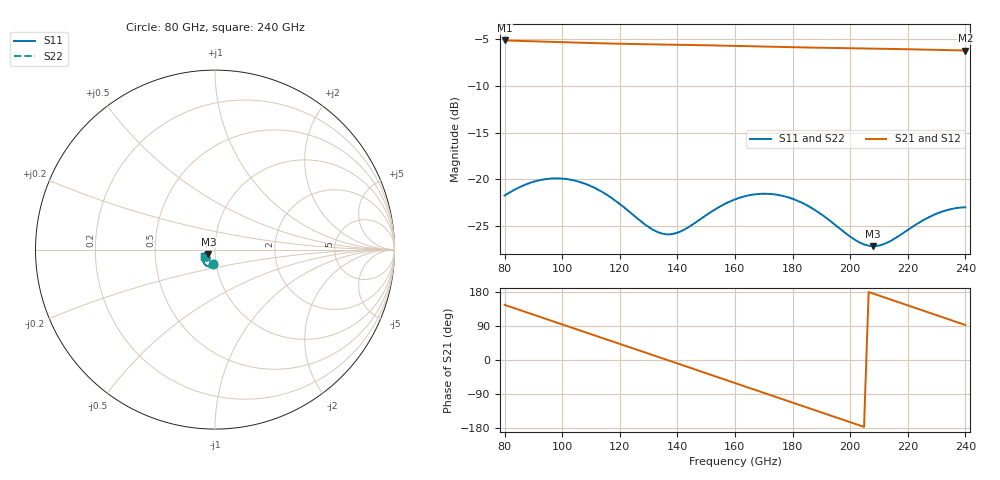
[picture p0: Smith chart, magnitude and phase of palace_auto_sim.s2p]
#  GHZ S DB R 50
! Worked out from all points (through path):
!   101 points, 80 GHz to 240 GHz, reference 50 ohm
!   highest |S21| = -5.12 dB at 80 GHz (marker M1); lowest = -6.2 dB at 240 GHz (marker M2)
!   group delay of S21, straight-line fit = 7.17 ps
!   lowest |S11| = -27.1 dB at 208 GHz (marker M3), VSWR 1.09, Z = 46.4 - j2.2 ohm
!   |S11| at or under -10 dB: start of sweep to end of sweep
!   |S22| runs from -27.2 to -19.9 dB; largest |S21 - S12| = 6.4e-14
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80  -21.73 -95.9  -5.12 145.5  -5.12 145.5  -21.73 -96.6
88  -20.46 -102.9  -5.19 124.8  -5.19 124.8  -20.48 -103.4
94.4  -19.96 -111.6  -5.25 108.3  -5.25 108.3  -19.98 -112.1
100.8  -19.93 -121.3  -5.31 91.8  -5.31 91.8  -19.96 -121.7
107.2  -20.38 -130.7  -5.37 75.3  -5.37 75.3  -20.41 -131.1
113.6  -21.29 -138.9  -5.42 58.9  -5.42 58.9  -21.33 -139.2
121.6  -23.02 -145.1  -5.48 38.3  -5.48 38.3  -23.08 -145.3
128  -24.64 -144.1  -5.52 21.9  -5.52 21.9  -24.72 -144.1
134.4  -25.78 -136.3  -5.56 5.4  -5.56 5.4  -25.86 -136.0
139.2  -25.78 -128.4  -5.58 -7.0  -5.58 -7.0  -25.85 -127.9
147.2  -24.42 -120.9  -5.62 -27.7  -5.62 -27.7  -24.44 -120.2
160  -22.14 -127.4  -5.70 -60.8  -5.70 -60.8  -22.13 -126.9
166.4  -21.62 -135.0  -5.75 -77.4  -5.75 -77.4  -21.61 -134.5
172.8  -21.57 -143.3  -5.79 -93.9  -5.79 -93.9  -21.57 -142.8
179.2  -21.99 -151.3  -5.84 -110.5  -5.84 -110.5  -22.00 -150.9
187.2  -23.17 -159.4  -5.89 -131.1  -5.89 -131.1  -23.21 -158.8
198.4  -25.75 -160.8  -5.95 -160.0  -5.95 -160.0  -25.85 -159.8
208  -27.14 -147.4  -6.00 175.2  -6.00 175.2  -27.22 -145.5
214.4  -26.52 -137.6  -6.03 158.7  -6.03 158.7  -26.51 -135.4
227.2  -24.06 -135.8  -6.11 125.5  -6.11 125.5  -23.93 -133.9
233.6  -23.28 -141.0  -6.15 108.9  -6.15 108.9  -23.12 -139.2
240  -22.98 -147.6  -6.20 92.4  -6.20 92.4  -22.79 -145.9
